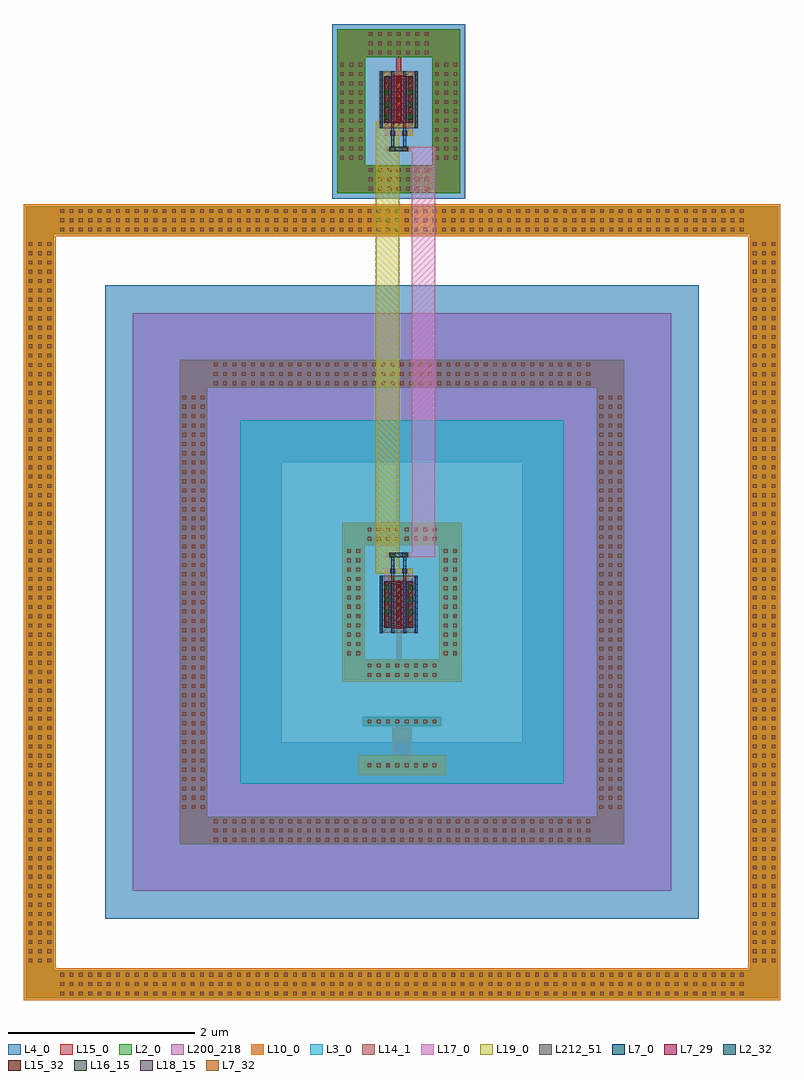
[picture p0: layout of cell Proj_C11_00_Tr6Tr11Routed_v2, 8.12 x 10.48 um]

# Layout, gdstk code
import gdstk
lib = gdstk.Library(unit=1e-6, precision=1e-09)
def R(c, l, rs):  # rectangles x0, y0, x1, y1
    for r in rs: c.add(gdstk.rectangle(r[:2], r[2:], *l))
def A(c, l, x, y, w, h, nx, ny, dx, dy):  # array of equal rectangles
    R(c, l, [(x+i*dx, y+j*dy, x+i*dx+w, y+j*dy+h) for i in range(nx) for j in range(ny)])
L2_0 = (2, 0)
L2_32 = (2, 32)
L3_0 = (3, 0)
L4_0 = (4, 0)
L7_0 = (7, 0)
L7_29 = (7, 29)
L7_32 = (7, 32)
L10_0 = (10, 0)
L14_1 = (14, 1)
L15_0 = (15, 0)
L15_32 = (15, 32)
L16_15 = (16, 15)
L17_0 = (17, 0)
L18_15 = (18, 15)
L19_0 = (19, 0)
L200_218 = (200, 218)
L212_51 = (212, 51)

proj_c11_00_tr6tr11route = lib.new_cell('Proj_C11_00_Tr6Tr11Routed_v2:SRF_Tr11:SRF_Tr11:SRF_Pmos:SRF_Source_ViaM1M2:SRF_ViaM1M2')
R(proj_c11_00_tr6tr11route, L15_0, [(0,-0.292,0.05,0.082)])
A(proj_c11_00_tr6tr11route, L16_15, 0, -0.26, 0.05, 0.05, 1, 3, 0, 0.13)
R(proj_c11_00_tr6tr11route, L17_0, [(0,-0.292,0.05,0.082)])

c_proj_c11_00_tr6tr11route = lib.new_cell('Proj_C11_00_Tr6Tr11Routed_v2:SRF_Tr11:SRF_Tr11:SRF_Pmos:SRF_Source_ViaM1M2')
c_proj_c11_00_tr6tr11route.add(gdstk.Reference(proj_c11_00_tr6tr11route, (-0.025,0.105)))

c_proj_c11_00_tr6tr11route_ = lib.new_cell('Proj_C11_00_Tr6Tr11Routed_v2:SRF_Tr11:SRF_Tr11:SRF_Pmos:SRF_Gate_ViaM0Mx:SRF_ViaM0M1')
R(c_proj_c11_00_tr6tr11route_, L7_0, [(-0.01,-0.004,0.15,0.044)])
R(c_proj_c11_00_tr6tr11route_, L14_1, [(0,0,0.04,0.04), (0.1,0,0.14,0.04)])
R(c_proj_c11_00_tr6tr11route_, L15_0, [(-0.021,-0.005,0.161,0.045)])

c_proj_c11_00_tr6tr11route__ = lib.new_cell('Proj_C11_00_Tr6Tr11Routed_v2:SRF_Tr11:SRF_Tr11:SRF_Pmos:SRF_Gate_ViaM0Mx:SRF_ViaM1M2')
R(c_proj_c11_00_tr6tr11route__, L15_0, [(-0.032,0,0.212,0.05)])
R(c_proj_c11_00_tr6tr11route__, L16_15, [(0,0,0.05,0.05), (0.13,0,0.18,0.05)])
R(c_proj_c11_00_tr6tr11route__, L17_0, [(-0.032,0,0.212,0.05)])

c_proj_c11_00_tr6tr11route___ = lib.new_cell('Proj_C11_00_Tr6Tr11Routed_v2:SRF_Tr11:SRF_Tr11:SRF_Pmos:SRF_Gate_ViaM0Mx')
c_proj_c11_00_tr6tr11route___.add(gdstk.Reference(c_proj_c11_00_tr6tr11route_, (-0.07,-0.02)))
c_proj_c11_00_tr6tr11route___.add(gdstk.Reference(c_proj_c11_00_tr6tr11route__, (-0.09,-0.025)))

c_proj_c11_00_tr6tr11route____ = lib.new_cell('Proj_C11_00_Tr6Tr11Routed_v2:SRF_Tr11:SRF_Tr11:SRF_Pmos')
R(c_proj_c11_00_tr6tr11route____, L2_0, [(-0.076,0.057,0.232,0.557)])
R(c_proj_c11_00_tr6tr11route____, L2_32, [(-0.076,0.057,0,0.557), (0.156,0.057,0.232,0.557)])
A(c_proj_c11_00_tr6tr11route____, L7_0, -0.126, 0, 0.03, 0.614, 4, 1, 0.126, 0)
R(c_proj_c11_00_tr6tr11route____, L7_0, [(0,0.614,0.03,0.814), (0.126,0.614,0.156,0.814), (-0.022,0.814,0.178,0.862)])
R(c_proj_c11_00_tr6tr11route____, L7_29, [(-0.005,0.052,0.161,0.562)])
R(c_proj_c11_00_tr6tr11route____, L7_32, [(0,0.557,0.03,0.614), (0.126,0.557,0.156,0.614)])
R(c_proj_c11_00_tr6tr11route____, L10_0, [(-0.132,0.001,0.288,0.613)])
A(c_proj_c11_00_tr6tr11route____, L14_1, -0.068, 0.087, 0.04, 0.04, 3, 5, 0.126, 0.1)
R(c_proj_c11_00_tr6tr11route____, L15_0, [(-0.073,0.066,-0.023,0.548), (-0.073,0.066,-0.023,0.548), (0.053,0.066,0.103,0.548), (0.053,0.066,0.103,0.548), (0.179,0.066,0.229,0.548), (0.179,0.066,0.229,0.548)])
A(c_proj_c11_00_tr6tr11route____, L15_32, -0.073, 0.066, 0.05, 0.482, 3, 1, 0.126, 0)
R(c_proj_c11_00_tr6tr11route____, L17_0, [(-0.073,0.548,-0.023,0.643), (0.179,0.548,0.229,0.643), (-0.073,0.643,0.229,0.693), (-0.064,0.813,0.22,0.863)])
R(c_proj_c11_00_tr6tr11route____, L212_51, [(-0.111,0.001,0.267,0.613)])
c_proj_c11_00_tr6tr11route____.add(gdstk.Reference(c_proj_c11_00_tr6tr11route, (-0.048,0.361)))
c_proj_c11_00_tr6tr11route____.add(gdstk.Reference(c_proj_c11_00_tr6tr11route, (0.204,0.361)))
c_proj_c11_00_tr6tr11route____.add(gdstk.Reference(c_proj_c11_00_tr6tr11route___, (0.078,0.838)))

c_proj_c11_00_tr6tr11route_____ = lib.new_cell('Proj_C11_00_Tr6Tr11Routed_v2:SRF_Tr11:SRF_Tr11:SRF_Source_ViaM2M3:SRF_ViaM2M3')
R(c_proj_c11_00_tr6tr11route_____, L17_0, [(-0.032,0,0.212,0.05)])
R(c_proj_c11_00_tr6tr11route_____, L18_15, [(0,0,0.05,0.05), (0.13,0,0.18,0.05)])
R(c_proj_c11_00_tr6tr11route_____, L19_0, [(-0.032,0,0.212,0.05)])

c_proj_c11_00_tr6tr11route______ = lib.new_cell('Proj_C11_00_Tr6Tr11Routed_v2:SRF_Tr11:SRF_Tr11:SRF_Source_ViaM2M3')
c_proj_c11_00_tr6tr11route______.add(gdstk.Reference(c_proj_c11_00_tr6tr11route_____, (-0.09,-0.025)))

c_proj_c11_00_tr6tr11route_______ = lib.new_cell('Proj_C11_00_Tr6Tr11Routed_v2:SRF_Tr11:SRF_Tr11')
R(c_proj_c11_00_tr6tr11route_______, L19_0, [(-0.073,0.643,0.229,0.693)])
c_proj_c11_00_tr6tr11route_______.add(gdstk.Reference(c_proj_c11_00_tr6tr11route____, (0,0)))
c_proj_c11_00_tr6tr11route_______.add(gdstk.Reference(c_proj_c11_00_tr6tr11route______, (0.078,0.668)))

c_proj_c11_00_tr6tr11route________ = lib.new_cell('Proj_C11_00_Tr6Tr11Routed_v2:SRF_Tr11:_Nbodyring:SRF_NbodyTop:SRF_NbodyContactPhyLen')
R(c_proj_c11_00_tr6tr11route________, L2_0, [(-0.04,-0.23,0.68,0.07)])
R(c_proj_c11_00_tr6tr11route________, L4_0, [(-0.096,-0.286,0.736,0.126)])
A(c_proj_c11_00_tr6tr11route________, L14_1, 0, -0.2, 0.04, 0.04, 7, 3, 0.1, 0.1)
R(c_proj_c11_00_tr6tr11route________, L15_0, [(-0.04,-0.23,0.68,0.07)])

c_proj_c11_00_tr6tr11route_________ = lib.new_cell('Proj_C11_00_Tr6Tr11Routed_v2:SRF_Tr11:_Nbodyring:SRF_NbodyTop')
c_proj_c11_00_tr6tr11route_________.add(gdstk.Reference(c_proj_c11_00_tr6tr11route________, (0,0)))

c_proj_c11_00_tr6tr11route__________ = lib.new_cell('Proj_C11_00_Tr6Tr11Routed_v2:SRF_Tr11:_Nbodyring:SRF_NbodyBottom:SRF_NbodyContactPhyLen')
R(c_proj_c11_00_tr6tr11route__________, L2_0, [(-0.04,-0.23,0.68,0.07)])
R(c_proj_c11_00_tr6tr11route__________, L4_0, [(-0.096,-0.286,0.736,0.126)])
A(c_proj_c11_00_tr6tr11route__________, L14_1, 0, -0.2, 0.04, 0.04, 7, 3, 0.1, 0.1)
R(c_proj_c11_00_tr6tr11route__________, L15_0, [(-0.04,-0.23,0.68,0.07)])

c_proj_c11_00_tr6tr11route___________ = lib.new_cell('Proj_C11_00_Tr6Tr11Routed_v2:SRF_Tr11:_Nbodyring:SRF_NbodyBottom')
c_proj_c11_00_tr6tr11route___________.add(gdstk.Reference(c_proj_c11_00_tr6tr11route__________, (0,0)))

c_proj_c11_00_tr6tr11route____________ = lib.new_cell('Proj_C11_00_Tr6Tr11Routed_v2:SRF_Tr11:_Nbodyring:SRF_NbodyLeft:SRF_NbodyContactPhyLen')
R(c_proj_c11_00_tr6tr11route____________, L2_0, [(-0.03,-1.062,0.27,0.101)])
R(c_proj_c11_00_tr6tr11route____________, L4_0, [(-0.086,-1.118,0.326,0.157)])
A(c_proj_c11_00_tr6tr11route____________, L14_1, 0, -1, 0.04, 0.04, 3, 11, 0.1, 0.1)
R(c_proj_c11_00_tr6tr11route____________, L15_0, [(-0.03,-1.062,0.27,0.101)])

c_proj_c11_00_tr6tr11route_____________ = lib.new_cell('Proj_C11_00_Tr6Tr11Routed_v2:SRF_Tr11:_Nbodyring:SRF_NbodyLeft')
c_proj_c11_00_tr6tr11route_____________.add(gdstk.Reference(c_proj_c11_00_tr6tr11route____________, (0,0)))

c_proj_c11_00_tr6tr11route______________ = lib.new_cell('Proj_C11_00_Tr6Tr11Routed_v2:SRF_Tr11:_Nbodyring:SRF_NbodyRight:SRF_NbodyContactPhyLen')
R(c_proj_c11_00_tr6tr11route______________, L2_0, [(-0.03,-1.062,0.27,0.101)])
R(c_proj_c11_00_tr6tr11route______________, L4_0, [(-0.086,-1.118,0.326,0.157)])
A(c_proj_c11_00_tr6tr11route______________, L14_1, 0, -1, 0.04, 0.04, 3, 11, 0.1, 0.1)
R(c_proj_c11_00_tr6tr11route______________, L15_0, [(-0.03,-1.062,0.27,0.101)])

c_proj_c11_00_tr6tr11route_______________ = lib.new_cell('Proj_C11_00_Tr6Tr11Routed_v2:SRF_Tr11:_Nbodyring:SRF_NbodyRight')
c_proj_c11_00_tr6tr11route_______________.add(gdstk.Reference(c_proj_c11_00_tr6tr11route______________, (0,0)))

c_proj_c11_00_tr6tr11route________________ = lib.new_cell('Proj_C11_00_Tr6Tr11Routed_v2:SRF_Tr11:_Nbodyring')
R(c_proj_c11_00_tr6tr11route________________, L2_0, [(-0.34,-1.693,0.98,-1.393), (-0.34,-1.693,-0.04,0.07), (0.68,-1.693,0.98,0.07), (-0.34,-0.23,0.98,0.07)])
R(c_proj_c11_00_tr6tr11route________________, L4_0, [(-0.396,-1.749,1.036,-1.337), (-0.396,-1.749,0.016,0.126), (0.624,-1.749,1.036,0.126), (-0.396,-0.286,1.036,0.126)])
R(c_proj_c11_00_tr6tr11route________________, L15_0, [(-0.34,-1.693,0.98,-1.393), (-0.34,-1.693,-0.04,0.07), (0.68,-1.693,0.98,0.07), (-0.34,-0.23,0.98,0.07)])
c_proj_c11_00_tr6tr11route________________.add(gdstk.Reference(c_proj_c11_00_tr6tr11route_________, (0,0)))
c_proj_c11_00_tr6tr11route________________.add(gdstk.Reference(c_proj_c11_00_tr6tr11route___________, (0,-1.463)))
c_proj_c11_00_tr6tr11route________________.add(gdstk.Reference(c_proj_c11_00_tr6tr11route_____________, (-0.31,-0.331)))
c_proj_c11_00_tr6tr11route________________.add(gdstk.Reference(c_proj_c11_00_tr6tr11route_______________, (0.71,-0.331)))

c_proj_c11_00_tr6tr11route_________________ = lib.new_cell('Proj_C11_00_Tr6Tr11Routed_v2:SRF_Tr11')
R(c_proj_c11_00_tr6tr11route_________________, L4_0, [(-0.638,-0.506,0.794,1.369)])
R(c_proj_c11_00_tr6tr11route_________________, L15_0, [(0.053,-0.15,0.103,0.066)])
c_proj_c11_00_tr6tr11route_________________.add(gdstk.Reference(c_proj_c11_00_tr6tr11route_______, (0,0)))
c_proj_c11_00_tr6tr11route_________________.add(gdstk.Reference(c_proj_c11_00_tr6tr11route________________, (-0.242,1.243)))

c_proj_c11_00_tr6tr11route__________________ = lib.new_cell('Proj_C11_00_Tr6Tr11Routed_v2:SRF_Tr6:SRF_Tr6:SRF_Nmos:SRF_Source_ViaM1M2:SRF_ViaM1M2')
R(c_proj_c11_00_tr6tr11route__________________, L15_0, [(0,-0.292,0.05,0.082)])
A(c_proj_c11_00_tr6tr11route__________________, L16_15, 0, -0.26, 0.05, 0.05, 1, 3, 0, 0.13)
R(c_proj_c11_00_tr6tr11route__________________, L17_0, [(0,-0.292,0.05,0.082)])

c_proj_c11_00_tr6tr11route___________________ = lib.new_cell('Proj_C11_00_Tr6Tr11Routed_v2:SRF_Tr6:SRF_Tr6:SRF_Nmos:SRF_Source_ViaM1M2')
c_proj_c11_00_tr6tr11route___________________.add(gdstk.Reference(c_proj_c11_00_tr6tr11route__________________, (-0.025,0.105)))

c_proj_c11_00_tr6tr11route____________________ = lib.new_cell('Proj_C11_00_Tr6Tr11Routed_v2:SRF_Tr6:SRF_Tr6:SRF_Nmos:SRF_Gate_ViaM0Mx:SRF_ViaM0M1')
R(c_proj_c11_00_tr6tr11route____________________, L7_0, [(-0.01,-0.004,0.15,0.044)])
R(c_proj_c11_00_tr6tr11route____________________, L14_1, [(0,0,0.04,0.04), (0.1,0,0.14,0.04)])
R(c_proj_c11_00_tr6tr11route____________________, L15_0, [(-0.021,-0.005,0.161,0.045)])

c_proj_c11_00_tr6tr11route_____________________ = lib.new_cell('Proj_C11_00_Tr6Tr11Routed_v2:SRF_Tr6:SRF_Tr6:SRF_Nmos:SRF_Gate_ViaM0Mx:SRF_ViaM1M2')
R(c_proj_c11_00_tr6tr11route_____________________, L15_0, [(-0.032,0,0.212,0.05)])
R(c_proj_c11_00_tr6tr11route_____________________, L16_15, [(0,0,0.05,0.05), (0.13,0,0.18,0.05)])
R(c_proj_c11_00_tr6tr11route_____________________, L17_0, [(-0.032,0,0.212,0.05)])

c_proj_c11_00_tr6tr11route______________________ = lib.new_cell('Proj_C11_00_Tr6Tr11Routed_v2:SRF_Tr6:SRF_Tr6:SRF_Nmos:SRF_Gate_ViaM0Mx')
c_proj_c11_00_tr6tr11route______________________.add(gdstk.Reference(c_proj_c11_00_tr6tr11route____________________, (-0.07,-0.02)))
c_proj_c11_00_tr6tr11route______________________.add(gdstk.Reference(c_proj_c11_00_tr6tr11route_____________________, (-0.09,-0.025)))

c_proj_c11_00_tr6tr11route_______________________ = lib.new_cell('Proj_C11_00_Tr6Tr11Routed_v2:SRF_Tr6:SRF_Tr6:SRF_Nmos')
R(c_proj_c11_00_tr6tr11route_______________________, L2_0, [(-0.076,0.057,0.232,0.557)])
R(c_proj_c11_00_tr6tr11route_______________________, L2_32, [(-0.076,0.057,0,0.557), (0.156,0.057,0.232,0.557)])
A(c_proj_c11_00_tr6tr11route_______________________, L7_0, -0.126, 0, 0.03, 0.614, 4, 1, 0.126, 0)
R(c_proj_c11_00_tr6tr11route_______________________, L7_0, [(0,0.614,0.03,0.814), (0.126,0.614,0.156,0.814), (-0.022,0.814,0.178,0.862)])
R(c_proj_c11_00_tr6tr11route_______________________, L7_29, [(-0.005,0.052,0.161,0.562)])
R(c_proj_c11_00_tr6tr11route_______________________, L7_32, [(0,0.557,0.03,0.614), (0.126,0.557,0.156,0.614)])
A(c_proj_c11_00_tr6tr11route_______________________, L14_1, -0.068, 0.087, 0.04, 0.04, 3, 5, 0.126, 0.1)
R(c_proj_c11_00_tr6tr11route_______________________, L15_0, [(-0.073,0.066,-0.023,0.548), (-0.073,0.066,-0.023,0.548), (0.053,0.066,0.103,0.548), (0.053,0.066,0.103,0.548), (0.179,0.066,0.229,0.548), (0.179,0.066,0.229,0.548)])
A(c_proj_c11_00_tr6tr11route_______________________, L15_32, -0.073, 0.066, 0.05, 0.482, 3, 1, 0.126, 0)
R(c_proj_c11_00_tr6tr11route_______________________, L17_0, [(-0.073,0.548,-0.023,0.643), (0.179,0.548,0.229,0.643), (-0.073,0.643,0.229,0.693), (-0.064,0.813,0.22,0.863)])
R(c_proj_c11_00_tr6tr11route_______________________, L212_51, [(-0.111,0.001,0.267,0.613)])
c_proj_c11_00_tr6tr11route_______________________.add(gdstk.Reference(c_proj_c11_00_tr6tr11route___________________, (-0.048,0.361)))
c_proj_c11_00_tr6tr11route_______________________.add(gdstk.Reference(c_proj_c11_00_tr6tr11route___________________, (0.204,0.361)))
c_proj_c11_00_tr6tr11route_______________________.add(gdstk.Reference(c_proj_c11_00_tr6tr11route______________________, (0.078,0.838)))

c_proj_c11_00_tr6tr11route________________________ = lib.new_cell('Proj_C11_00_Tr6Tr11Routed_v2:SRF_Tr6:SRF_Tr6:SRF_Source_ViaM2M3:SRF_ViaM2M3')
R(c_proj_c11_00_tr6tr11route________________________, L17_0, [(-0.032,0,0.212,0.05)])
R(c_proj_c11_00_tr6tr11route________________________, L18_15, [(0,0,0.05,0.05), (0.13,0,0.18,0.05)])
R(c_proj_c11_00_tr6tr11route________________________, L19_0, [(-0.032,0,0.212,0.05)])

c_proj_c11_00_tr6tr11route_________________________ = lib.new_cell('Proj_C11_00_Tr6Tr11Routed_v2:SRF_Tr6:SRF_Tr6:SRF_Source_ViaM2M3')
c_proj_c11_00_tr6tr11route_________________________.add(gdstk.Reference(c_proj_c11_00_tr6tr11route________________________, (-0.09,-0.025)))

c_proj_c11_00_tr6tr11route__________________________ = lib.new_cell('Proj_C11_00_Tr6Tr11Routed_v2:SRF_Tr6:SRF_Tr6')
R(c_proj_c11_00_tr6tr11route__________________________, L19_0, [(-0.073,0.643,0.229,0.693)])
c_proj_c11_00_tr6tr11route__________________________.add(gdstk.Reference(c_proj_c11_00_tr6tr11route_______________________, (0,0)))
c_proj_c11_00_tr6tr11route__________________________.add(gdstk.Reference(c_proj_c11_00_tr6tr11route_________________________, (0.078,0.668)))

c_proj_c11_00_tr6tr11route___________________________ = lib.new_cell('Proj_C11_00_Tr6Tr11Routed_v2:SRF_Tr6:SRF_Pbodyring:SRF_PbodyTop:SRF_PbodyContactPhyLen')
R(c_proj_c11_00_tr6tr11route___________________________, L2_0, [(-0.049,-0.13,0.789,0.07)])
R(c_proj_c11_00_tr6tr11route___________________________, L10_0, [(-0.07,-0.151,0.81,0.091)])
A(c_proj_c11_00_tr6tr11route___________________________, L14_1, 0, -0.1, 0.04, 0.04, 8, 2, 0.1, 0.1)
R(c_proj_c11_00_tr6tr11route___________________________, L15_0, [(-0.049,-0.13,0.789,0.07)])

c_proj_c11_00_tr6tr11route____________________________ = lib.new_cell('Proj_C11_00_Tr6Tr11Routed_v2:SRF_Tr6:SRF_Pbodyring:SRF_PbodyTop')
c_proj_c11_00_tr6tr11route____________________________.add(gdstk.Reference(c_proj_c11_00_tr6tr11route___________________________, (0,0)))

c_proj_c11_00_tr6tr11route_____________________________ = lib.new_cell('Proj_C11_00_Tr6Tr11Routed_v2:SRF_Tr6:SRF_Pbodyring:SRF_PbodyBottom:SRF_PbodyContactPhyLen')
R(c_proj_c11_00_tr6tr11route_____________________________, L2_0, [(-0.049,-0.13,0.789,0.07)])
R(c_proj_c11_00_tr6tr11route_____________________________, L10_0, [(-0.07,-0.151,0.81,0.091)])
A(c_proj_c11_00_tr6tr11route_____________________________, L14_1, 0, -0.1, 0.04, 0.04, 8, 2, 0.1, 0.1)
R(c_proj_c11_00_tr6tr11route_____________________________, L15_0, [(-0.049,-0.13,0.789,0.07)])

c_proj_c11_00_tr6tr11route______________________________ = lib.new_cell('Proj_C11_00_Tr6Tr11Routed_v2:SRF_Tr6:SRF_Pbodyring:SRF_PbodyBottom')
c_proj_c11_00_tr6tr11route______________________________.add(gdstk.Reference(c_proj_c11_00_tr6tr11route_____________________________, (0,0)))

c_proj_c11_00_tr6tr11route_______________________________ = lib.new_cell('Proj_C11_00_Tr6Tr11Routed_v2:SRF_Tr6:SRF_Pbodyring:SRF_PbodyLeft:SRF_PbodyContactPhyLen')
R(c_proj_c11_00_tr6tr11route_______________________________, L2_0, [(-0.03,-1.162,0.17,0.101)])
R(c_proj_c11_00_tr6tr11route_______________________________, L10_0, [(-0.051,-1.182,0.191,0.123)])
A(c_proj_c11_00_tr6tr11route_______________________________, L14_1, 0, -1.1, 0.04, 0.04, 1, 12, 0, 0.1)
A(c_proj_c11_00_tr6tr11route_______________________________, L14_1, 0.1, -1.1, 0.04, 0.04, 1, 12, 0, 0.1)
R(c_proj_c11_00_tr6tr11route_______________________________, L15_0, [(-0.03,-1.162,0.17,0.101)])

c_proj_c11_00_tr6tr11route________________________________ = lib.new_cell('Proj_C11_00_Tr6Tr11Routed_v2:SRF_Tr6:SRF_Pbodyring:SRF_PbodyLeft')
c_proj_c11_00_tr6tr11route________________________________.add(gdstk.Reference(c_proj_c11_00_tr6tr11route_______________________________, (0,0)))

c_proj_c11_00_tr6tr11route_________________________________ = lib.new_cell('Proj_C11_00_Tr6Tr11Routed_v2:SRF_Tr6:SRF_Pbodyring:SRF_PbodyRight:SRF_PbodyContactPhyLen')
R(c_proj_c11_00_tr6tr11route_________________________________, L2_0, [(-0.03,-1.162,0.17,0.101)])
R(c_proj_c11_00_tr6tr11route_________________________________, L10_0, [(-0.051,-1.182,0.191,0.123)])
A(c_proj_c11_00_tr6tr11route_________________________________, L14_1, 0, -1.1, 0.04, 0.04, 1, 12, 0, 0.1)
A(c_proj_c11_00_tr6tr11route_________________________________, L14_1, 0.1, -1.1, 0.04, 0.04, 1, 12, 0, 0.1)
R(c_proj_c11_00_tr6tr11route_________________________________, L15_0, [(-0.03,-1.162,0.17,0.101)])

c_proj_c11_00_tr6tr11route__________________________________ = lib.new_cell('Proj_C11_00_Tr6Tr11Routed_v2:SRF_Tr6:SRF_Pbodyring:SRF_PbodyRight')
c_proj_c11_00_tr6tr11route__________________________________.add(gdstk.Reference(c_proj_c11_00_tr6tr11route_________________________________, (0,0)))

c_proj_c11_00_tr6tr11route___________________________________ = lib.new_cell('Proj_C11_00_Tr6Tr11Routed_v2:SRF_Tr6:SRF_Pbodyring')
R(c_proj_c11_00_tr6tr11route___________________________________, L2_0, [(-0.249,-1.593,0.989,-1.393), (-0.249,-1.593,-0.049,0.07), (0.789,-1.593,0.989,0.07), (-0.249,-0.13,0.989,0.07)])
R(c_proj_c11_00_tr6tr11route___________________________________, L10_0, [(-0.27,-1.614,1.01,-1.372), (-0.27,-1.614,-0.028,0.091), (0.768,-1.614,1.01,0.091), (-0.27,-0.151,1.01,0.091)])
R(c_proj_c11_00_tr6tr11route___________________________________, L15_0, [(-0.249,-1.593,0.989,-1.393), (-0.249,-1.593,-0.049,0.07), (0.789,-1.593,0.989,0.07), (-0.249,-0.13,0.989,0.07)])
c_proj_c11_00_tr6tr11route___________________________________.add(gdstk.Reference(c_proj_c11_00_tr6tr11route____________________________, (0,0)))
c_proj_c11_00_tr6tr11route___________________________________.add(gdstk.Reference(c_proj_c11_00_tr6tr11route______________________________, (0,-1.463)))
c_proj_c11_00_tr6tr11route___________________________________.add(gdstk.Reference(c_proj_c11_00_tr6tr11route________________________________, (-0.219,-0.231)))
c_proj_c11_00_tr6tr11route___________________________________.add(gdstk.Reference(c_proj_c11_00_tr6tr11route__________________________________, (0.819,-0.231)))

c_proj_c11_00_tr6tr11route____________________________________ = lib.new_cell('Proj_C11_00_Tr6Tr11Routed_v2:SRF_Tr6:SRF_Nbody_withinPIsolated:SRF_NbodyContactPhyLen')
R(c_proj_c11_00_tr6tr11route____________________________________, L2_0, [(-0.049,-0.03,0.789,0.07)])
A(c_proj_c11_00_tr6tr11route____________________________________, L14_1, 0, 0, 0.04, 0.04, 8, 1, 0.1, 0)
R(c_proj_c11_00_tr6tr11route____________________________________, L15_0, [(-0.049,-0.03,0.789,0.07)])

c_proj_c11_00_tr6tr11route_____________________________________ = lib.new_cell('Proj_C11_00_Tr6Tr11Routed_v2:SRF_Tr6:SRF_Nbody_withinPIsolated')
c_proj_c11_00_tr6tr11route_____________________________________.add(gdstk.Reference(c_proj_c11_00_tr6tr11route____________________________________, (0,0)))

c_proj_c11_00_tr6tr11route______________________________________ = lib.new_cell('Proj_C11_00_Tr6Tr11Routed_v2:SRF_Tr6:SRF_Nbodyring:SRF_NbodyTop:SRF_NbodyContactPhyLen')
R(c_proj_c11_00_tr6tr11route______________________________________, L2_0, [(-0.07,-0.23,4.11,0.07)])
R(c_proj_c11_00_tr6tr11route______________________________________, L4_0, [(-0.87,-1.03,4.91,0.87)])
A(c_proj_c11_00_tr6tr11route______________________________________, L14_1, 0, -0.2, 0.04, 0.04, 41, 3, 0.1, 0.1)
R(c_proj_c11_00_tr6tr11route______________________________________, L15_0, [(-0.07,-0.23,4.11,0.07)])

c_proj_c11_00_tr6tr11route_______________________________________ = lib.new_cell('Proj_C11_00_Tr6Tr11Routed_v2:SRF_Tr6:SRF_Nbodyring:SRF_NbodyTop')
c_proj_c11_00_tr6tr11route_______________________________________.add(gdstk.Reference(c_proj_c11_00_tr6tr11route______________________________________, (0,0)))

c_proj_c11_00_tr6tr11route________________________________________ = lib.new_cell('Proj_C11_00_Tr6Tr11Routed_v2:SRF_Tr6:SRF_Nbodyring:SRF_NbodyBottom:SRF_NbodyContactPhyLen')
R(c_proj_c11_00_tr6tr11route________________________________________, L2_0, [(-0.07,-0.23,4.11,0.07)])
R(c_proj_c11_00_tr6tr11route________________________________________, L4_0, [(-0.87,-1.03,4.91,0.87)])
A(c_proj_c11_00_tr6tr11route________________________________________, L14_1, 0, -0.2, 0.04, 0.04, 41, 3, 0.1, 0.1)
R(c_proj_c11_00_tr6tr11route________________________________________, L15_0, [(-0.07,-0.23,4.11,0.07)])

c_proj_c11_00_tr6tr11route_________________________________________ = lib.new_cell('Proj_C11_00_Tr6Tr11Routed_v2:SRF_Tr6:SRF_Nbodyring:SRF_NbodyBottom')
c_proj_c11_00_tr6tr11route_________________________________________.add(gdstk.Reference(c_proj_c11_00_tr6tr11route________________________________________, (0,0)))

c_proj_c11_00_tr6tr11route__________________________________________ = lib.new_cell('Proj_C11_00_Tr6Tr11Routed_v2:SRF_Tr6:SRF_Nbodyring:SRF_NbodyLeft:SRF_NbodyContactPhyLen')
R(c_proj_c11_00_tr6tr11route__________________________________________, L2_0, [(-0.03,-4.482,0.27,0.123)])
R(c_proj_c11_00_tr6tr11route__________________________________________, L4_0, [(-0.83,-5.282,1.07,0.923)])
A(c_proj_c11_00_tr6tr11route__________________________________________, L14_1, 0, -4.4, 0.04, 0.04, 3, 45, 0.1, 0.1)
R(c_proj_c11_00_tr6tr11route__________________________________________, L15_0, [(-0.03,-4.482,0.27,0.123)])

c_proj_c11_00_tr6tr11route___________________________________________ = lib.new_cell('Proj_C11_00_Tr6Tr11Routed_v2:SRF_Tr6:SRF_Nbodyring:SRF_NbodyLeft')
c_proj_c11_00_tr6tr11route___________________________________________.add(gdstk.Reference(c_proj_c11_00_tr6tr11route__________________________________________, (0,0)))

c_proj_c11_00_tr6tr11route____________________________________________ = lib.new_cell('Proj_C11_00_Tr6Tr11Routed_v2:SRF_Tr6:SRF_Nbodyring:SRF_NbodyRight:SRF_NbodyContactPhyLen')
R(c_proj_c11_00_tr6tr11route____________________________________________, L2_0, [(-0.03,-4.482,0.27,0.123)])
R(c_proj_c11_00_tr6tr11route____________________________________________, L4_0, [(-0.83,-5.282,1.07,0.923)])
A(c_proj_c11_00_tr6tr11route____________________________________________, L14_1, 0, -4.4, 0.04, 0.04, 3, 45, 0.1, 0.1)
R(c_proj_c11_00_tr6tr11route____________________________________________, L15_0, [(-0.03,-4.482,0.27,0.123)])

c_proj_c11_00_tr6tr11route_____________________________________________ = lib.new_cell('Proj_C11_00_Tr6Tr11Routed_v2:SRF_Tr6:SRF_Nbodyring:SRF_NbodyRight')
c_proj_c11_00_tr6tr11route_____________________________________________.add(gdstk.Reference(c_proj_c11_00_tr6tr11route____________________________________________, (0,0)))

c_proj_c11_00_tr6tr11route______________________________________________ = lib.new_cell('Proj_C11_00_Tr6Tr11Routed_v2:SRF_Tr6:SRF_Nbodyring')
R(c_proj_c11_00_tr6tr11route______________________________________________, L2_0, [(-0.37,-5.135,4.41,-4.835), (-0.37,-5.135,-0.07,0.07), (4.11,-5.135,4.41,0.07), (-0.37,-0.23,4.41,0.07)])
R(c_proj_c11_00_tr6tr11route______________________________________________, L4_0, [(-1.17,-5.935,5.21,-4.035), (-1.17,-5.935,0.73,0.87), (3.31,-5.935,5.21,0.87), (-1.17,-1.03,5.21,0.87)])
R(c_proj_c11_00_tr6tr11route______________________________________________, L15_0, [(-0.37,-5.135,4.41,-4.835), (-0.37,-5.135,-0.07,0.07), (4.11,-5.135,4.41,0.07), (-0.37,-0.23,4.41,0.07)])
c_proj_c11_00_tr6tr11route______________________________________________.add(gdstk.Reference(c_proj_c11_00_tr6tr11route_______________________________________, (0,0)))
c_proj_c11_00_tr6tr11route______________________________________________.add(gdstk.Reference(c_proj_c11_00_tr6tr11route_________________________________________, (0,-4.905)))
c_proj_c11_00_tr6tr11route______________________________________________.add(gdstk.Reference(c_proj_c11_00_tr6tr11route___________________________________________, (-0.34,-0.353)))
c_proj_c11_00_tr6tr11route______________________________________________.add(gdstk.Reference(c_proj_c11_00_tr6tr11route_____________________________________________, (4.14,-0.353)))

c_proj_c11_00_tr6tr11route_______________________________________________ = lib.new_cell('Proj_C11_00_Tr6Tr11Routed_v2:SRF_Tr6:SRF_Pbody_withinNW:SRF_PbodyContactPhyLen')
R(c_proj_c11_00_tr6tr11route_______________________________________________, L2_0, [(-0.049,-0.03,0.789,0.07)])
R(c_proj_c11_00_tr6tr11route_______________________________________________, L10_0, [(-0.07,-0.065,0.81,0.105)])
A(c_proj_c11_00_tr6tr11route_______________________________________________, L14_1, 0, 0, 0.04, 0.04, 8, 1, 0.1, 0)
R(c_proj_c11_00_tr6tr11route_______________________________________________, L15_0, [(-0.049,-0.03,0.789,0.07)])

c_proj_c11_00_tr6tr11route________________________________________________ = lib.new_cell('Proj_C11_00_Tr6Tr11Routed_v2:SRF_Tr6:SRF_Pbody_withinNW')
c_proj_c11_00_tr6tr11route________________________________________________.add(gdstk.Reference(c_proj_c11_00_tr6tr11route_______________________________________________, (0,0)))

c_proj_c11_00_tr6tr11route_________________________________________________ = lib.new_cell('Proj_C11_00_Tr6Tr11Routed_v2:SRF_Tr6:SRF_Pbodyring2:SRF_PbodyTop:SRF_PbodyContactPhyLen')
R(c_proj_c11_00_tr6tr11route_________________________________________________, L2_0, [(-0.07,-0.23,7.41,0.07)])
R(c_proj_c11_00_tr6tr11route_________________________________________________, L10_0, [(-0.091,-0.251,7.431,0.091)])
A(c_proj_c11_00_tr6tr11route_________________________________________________, L14_1, 0, -0.2, 0.04, 0.04, 74, 3, 0.1, 0.1)
R(c_proj_c11_00_tr6tr11route_________________________________________________, L15_0, [(-0.07,-0.23,7.41,0.07)])

c_proj_c11_00_tr6tr11route__________________________________________________ = lib.new_cell('Proj_C11_00_Tr6Tr11Routed_v2:SRF_Tr6:SRF_Pbodyring2:SRF_PbodyTop')
c_proj_c11_00_tr6tr11route__________________________________________________.add(gdstk.Reference(c_proj_c11_00_tr6tr11route_________________________________________________, (0,0)))

c_proj_c11_00_tr6tr11route___________________________________________________ = lib.new_cell('Proj_C11_00_Tr6Tr11Routed_v2:SRF_Tr6:SRF_Pbodyring2:SRF_PbodyBottom:SRF_PbodyContactPhyLen')
R(c_proj_c11_00_tr6tr11route___________________________________________________, L2_0, [(-0.07,-0.23,7.41,0.07)])
R(c_proj_c11_00_tr6tr11route___________________________________________________, L10_0, [(-0.091,-0.251,7.431,0.091)])
A(c_proj_c11_00_tr6tr11route___________________________________________________, L14_1, 0, -0.2, 0.04, 0.04, 74, 3, 0.1, 0.1)
R(c_proj_c11_00_tr6tr11route___________________________________________________, L15_0, [(-0.07,-0.23,7.41,0.07)])

c_proj_c11_00_tr6tr11route____________________________________________________ = lib.new_cell('Proj_C11_00_Tr6Tr11Routed_v2:SRF_Tr6:SRF_Pbodyring2:SRF_PbodyBottom')
c_proj_c11_00_tr6tr11route____________________________________________________.add(gdstk.Reference(c_proj_c11_00_tr6tr11route___________________________________________________, (0,0)))

c_proj_c11_00_tr6tr11route_____________________________________________________ = lib.new_cell('Proj_C11_00_Tr6Tr11Routed_v2:SRF_Tr6:SRF_Pbodyring2:SRF_PbodyLeft:SRF_PbodyContactPhyLen')
R(c_proj_c11_00_tr6tr11route_____________________________________________________, L2_0, [(-0.03,-7.782,0.27,0.123)])
R(c_proj_c11_00_tr6tr11route_____________________________________________________, L10_0, [(-0.051,-7.804,0.291,0.143)])
A(c_proj_c11_00_tr6tr11route_____________________________________________________, L14_1, 0, -7.7, 0.04, 0.04, 3, 78, 0.1, 0.1)
R(c_proj_c11_00_tr6tr11route_____________________________________________________, L15_0, [(-0.03,-7.782,0.27,0.123)])

c_proj_c11_00_tr6tr11route______________________________________________________ = lib.new_cell('Proj_C11_00_Tr6Tr11Routed_v2:SRF_Tr6:SRF_Pbodyring2:SRF_PbodyLeft')
c_proj_c11_00_tr6tr11route______________________________________________________.add(gdstk.Reference(c_proj_c11_00_tr6tr11route_____________________________________________________, (0,0)))

c_proj_c11_00_tr6tr11route_______________________________________________________ = lib.new_cell('Proj_C11_00_Tr6Tr11Routed_v2:SRF_Tr6:SRF_Pbodyring2:SRF_PbodyRight:SRF_PbodyContactPhyLen')
R(c_proj_c11_00_tr6tr11route_______________________________________________________, L2_0, [(-0.03,-7.782,0.27,0.123)])
R(c_proj_c11_00_tr6tr11route_______________________________________________________, L10_0, [(-0.051,-7.804,0.291,0.143)])
A(c_proj_c11_00_tr6tr11route_______________________________________________________, L14_1, 0, -7.7, 0.04, 0.04, 3, 78, 0.1, 0.1)
R(c_proj_c11_00_tr6tr11route_______________________________________________________, L15_0, [(-0.03,-7.782,0.27,0.123)])

c_proj_c11_00_tr6tr11route________________________________________________________ = lib.new_cell('Proj_C11_00_Tr6Tr11Routed_v2:SRF_Tr6:SRF_Pbodyring2:SRF_PbodyRight')
c_proj_c11_00_tr6tr11route________________________________________________________.add(gdstk.Reference(c_proj_c11_00_tr6tr11route_______________________________________________________, (0,0)))

c_proj_c11_00_tr6tr11route_________________________________________________________ = lib.new_cell('Proj_C11_00_Tr6Tr11Routed_v2:SRF_Tr6:SRF_Pbodyring2')
R(c_proj_c11_00_tr6tr11route_________________________________________________________, L2_0, [(-0.37,-8.435,7.71,-8.135), (-0.37,-8.435,-0.07,0.07), (7.41,-8.435,7.71,0.07), (-0.37,-0.23,7.71,0.07)])
R(c_proj_c11_00_tr6tr11route_________________________________________________________, L10_0, [(-0.391,-8.456,7.731,-8.114), (-0.391,-8.456,-0.049,0.091), (7.389,-8.456,7.731,0.091), (-0.391,-0.251,7.731,0.091)])
R(c_proj_c11_00_tr6tr11route_________________________________________________________, L15_0, [(-0.37,-8.435,7.71,-8.135), (-0.37,-8.435,-0.07,0.07), (7.41,-8.435,7.71,0.07), (-0.37,-0.23,7.71,0.07)])
c_proj_c11_00_tr6tr11route_________________________________________________________.add(gdstk.Reference(c_proj_c11_00_tr6tr11route__________________________________________________, (0,0)))
c_proj_c11_00_tr6tr11route_________________________________________________________.add(gdstk.Reference(c_proj_c11_00_tr6tr11route____________________________________________________, (0,-8.205)))
c_proj_c11_00_tr6tr11route_________________________________________________________.add(gdstk.Reference(c_proj_c11_00_tr6tr11route______________________________________________________, (-0.34,-0.353)))
c_proj_c11_00_tr6tr11route_________________________________________________________.add(gdstk.Reference(c_proj_c11_00_tr6tr11route________________________________________________________, (7.44,-0.353)))

c_proj_c11_00_tr6tr11route__________________________________________________________ = lib.new_cell('Proj_C11_00_Tr6Tr11Routed_v2:SRF_Tr6')
R(c_proj_c11_00_tr6tr11route__________________________________________________________, L3_0, [(-1.627,-1.621,1.853,2.284)])
R(c_proj_c11_00_tr6tr11route__________________________________________________________, L10_0, [(-0.362,-1.527,0.588,-1.315)])
R(c_proj_c11_00_tr6tr11route__________________________________________________________, L15_0, [(0.013,-1.471,0.213,-0.9), (0.053,-0.3,0.103,0.066)])
R(c_proj_c11_00_tr6tr11route__________________________________________________________, L200_218, [(-2.777,-2.771,3.003,3.434)])
c_proj_c11_00_tr6tr11route__________________________________________________________.add(gdstk.Reference(c_proj_c11_00_tr6tr11route__________________________, (0,0)))
c_proj_c11_00_tr6tr11route__________________________________________________________.add(gdstk.Reference(c_proj_c11_00_tr6tr11route___________________________________, (-0.257,1.093)))
c_proj_c11_00_tr6tr11route__________________________________________________________.add(gdstk.Reference(c_proj_c11_00_tr6tr11route_____________________________________, (-0.257,-0.97)))
c_proj_c11_00_tr6tr11route__________________________________________________________.add(gdstk.Reference(c_proj_c11_00_tr6tr11route______________________________________________, (-1.907,2.864)))
c_proj_c11_00_tr6tr11route__________________________________________________________.add(gdstk.Reference(c_proj_c11_00_tr6tr11route________________________________________________, (-0.257,-1.441)))
c_proj_c11_00_tr6tr11route__________________________________________________________.add(gdstk.Reference(c_proj_c11_00_tr6tr11route_________________________________________________________, (-3.557,4.514)))

c_proj_c11_00_tr6tr11route___________________________________________________________ = lib.new_cell('Proj_C11_00_Tr6Tr11Routed_v2')
R(c_proj_c11_00_tr6tr11route___________________________________________________________, L17_0, [(0.22,-5.224,0.47,-0.813)])
c_proj_c11_00_tr6tr11route___________________________________________________________.add(gdstk.FlexPath([(-0.044,-0.668),(-0.044,-0.543)], 0.25, ends="flush", simple_path=True, layer=19, datatype=0))  # L19_0
c_proj_c11_00_tr6tr11route___________________________________________________________.add(gdstk.FlexPath([(-0.044,-0.543),(-0.044,-5.394)], 0.25, ends="flush", simple_path=True, layer=19, datatype=0))  # L19_0
c_proj_c11_00_tr6tr11route___________________________________________________________.add(gdstk.Reference(c_proj_c11_00_tr6tr11route_________________, (0,0), x_reflection=True))
c_proj_c11_00_tr6tr11route___________________________________________________________.add(gdstk.Reference(c_proj_c11_00_tr6tr11route__________________________________________________________, (0,-6.037)))

lib.write_gds('Proj_C11_00_Tr6Tr11Routed_v2.gds')
